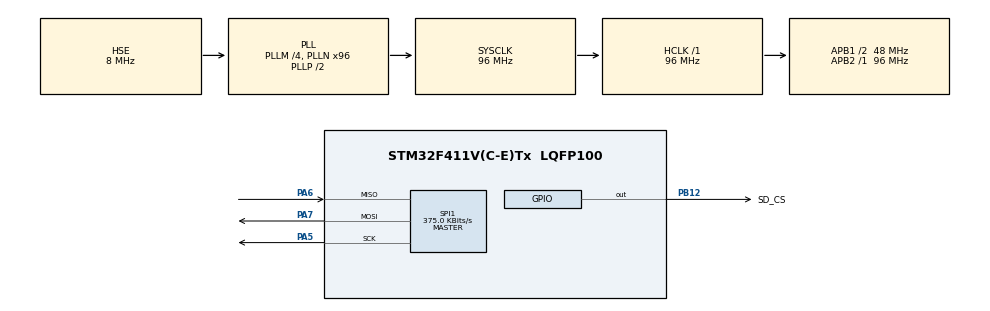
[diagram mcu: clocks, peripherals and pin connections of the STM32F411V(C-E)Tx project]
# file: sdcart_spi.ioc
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Dma.Request0=SPI1_RX
Dma.Request1=SPI1_TX
Dma.SPI1_RX.0.Direction=DMA_PERIPH_TO_MEMORY
Dma.SPI1_RX.0.FIFOMode=DMA_FIFOMODE_DISABLE
Dma.SPI1_RX.0.Instance=DMA2_Stream0
Dma.SPI1_RX.0.MemDataAlignment=DMA_MDATAALIGN_BYTE
Dma.SPI1_RX.0.MemInc=DMA_MINC_ENABLE
Dma.SPI1_RX.0.Mode=DMA_NORMAL
Dma.SPI1_RX.0.PeriphDataAlignment=DMA_PDATAALIGN_BYTE
Dma.SPI1_RX.0.PeriphInc=DMA_PINC_DISABLE
Dma.SPI1_RX.0.Priority=DMA_PRIORITY_LOW
Dma.SPI1_TX.1.Direction=DMA_MEMORY_TO_PERIPH
Dma.SPI1_TX.1.FIFOMode=DMA_FIFOMODE_DISABLE
Dma.SPI1_TX.1.Instance=DMA2_Stream2
Dma.SPI1_TX.1.MemDataAlignment=DMA_MDATAALIGN_BYTE
Dma.SPI1_TX.1.MemInc=DMA_MINC_ENABLE
Dma.SPI1_TX.1.Mode=DMA_NORMAL
Dma.SPI1_TX.1.PeriphDataAlignment=DMA_PDATAALIGN_BYTE
Dma.SPI1_TX.1.PeriphInc=DMA_PINC_DISABLE
Dma.SPI1_TX.1.Priority=DMA_PRIORITY_LOW
Mcu.Family=STM32F4
Mcu.Name=STM32F411V(C-E)Tx
Mcu.Package=LQFP100
NVIC.DMA2_Stream0_IRQn=true\:0\:0\:false\:false\:true\:false\:true\:true
NVIC.DMA2_Stream2_IRQn=true\:0\:0\:false\:false\:true\:false\:true\:true
NVIC.PriorityGroup=NVIC_PRIORITYGROUP_0
PA13.Mode=Trace_Asynchronous_SW
PA13.Signal=SYS_JTMS-SWDIO
PA14.Mode=Trace_Asynchronous_SW
PA14.Signal=SYS_JTCK-SWCLK
PA5.GPIO_PuPd=GPIO_PULLUP
PA5.GPIO_Speed=GPIO_SPEED_FREQ_VERY_HIGH
PA5.Mode=Full_Duplex_Master
PA5.Signal=SPI1_SCK
PA6.GPIO_PuPd=GPIO_PULLUP
PA6.GPIO_Speed=GPIO_SPEED_FREQ_VERY_HIGH
PA6.Mode=Full_Duplex_Master
PA6.Signal=SPI1_MISO
PA7.GPIO_PuPd=GPIO_PULLUP
PA7.GPIO_Speed=GPIO_SPEED_FREQ_VERY_HIGH
PA7.Mode=Full_Duplex_Master
PA7.Signal=SPI1_MOSI
PB12.GPIO_Label=SD_CS
PB12.GPIO_ModeDefaultOutputPP=GPIO_MODE_OUTPUT_PP
PB12.GPIO_PuPd=GPIO_PULLUP
PB12.GPIO_Speed=GPIO_SPEED_FREQ_VERY_HIGH
PB12.PinState=GPIO_PIN_SET
PB12.Signal=GPIO_Output
PB3.Mode=Trace_Asynchronous_SW
PB3.Signal=SYS_JTDO-SWO
PH0\ -\ OSC_IN.Mode=HSE-External-Oscillator
PH0\ -\ OSC_IN.Signal=RCC_OSC_IN
PH1\ -\ OSC_OUT.Mode=HSE-External-Oscillator
PH1\ -\ OSC_OUT.Signal=RCC_OSC_OUT
ProjectManager.HeapSize=0x1000
ProjectManager.StackSize=0x400
ProjectManager.TargetToolchain=STM32CubeIDE
RCC.48MHZClocksFreq_Value=24000000
RCC.AHBFreq_Value=96000000
RCC.APB1CLKDivider=RCC_HCLK_DIV2
RCC.APB1Freq_Value=48000000
RCC.APB1TimFreq_Value=96000000
RCC.APB2Freq_Value=96000000
RCC.APB2TimFreq_Value=96000000
RCC.CortexFreq_Value=96000000
RCC.HCLKFreq_Value=96000000
RCC.HSE_VALUE=8000000
RCC.HSI_VALUE=16000000
RCC.LSE_VALUE=32768
RCC.PLLI2SM=5
RCC.PLLI2SN=200
RCC.PLLM=4
RCC.PLLN=96
RCC.PLLQ=8
RCC.PLLSourceVirtual=RCC_PLLSOURCE_HSE
RCC.SYSCLKFreq_VALUE=96000000
RCC.SYSCLKSource=RCC_SYSCLKSOURCE_PLLCLK
RCC.VCOOutputFreq_Value=192000000
SPI1.BaudRatePrescaler=SPI_BAUDRATEPRESCALER_256
SPI1.CalculateBaudRate=375.0 KBits/s
SPI1.Direction=SPI_DIRECTION_2LINES
SPI1.Mode=SPI_MODE_MASTER
SPI1.VirtualType=VM_MASTER
board=STM32F411E-DISCO

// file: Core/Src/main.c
/* USER CODE BEGIN Header */
/**
  ******************************************************************************
  * @file           : main.c
  * @brief          : Main program body
  ******************************************************************************
  * @attention
  *
  * Copyright (c) 2026 STMicroelectronics.
  * All rights reserved.
  *
  * This software is licensed under terms that can be found in the LICENSE file
  * in the root directory of this software component.
  * If no LICENSE file comes with this software, it is provided AS-IS.
  *
  ******************************************************************************
  */
/* USER CODE END Header */
#include "main.h"
#include "dma.h"
#include "spi.h"
#include "gpio.h"

/* USER CODE BEGIN Includes */
#include <stdio.h>
#include <string.h>
#include <stdarg.h> //for va_list var arg functions

#include "stdio.h"
#include "sd_benchmark.h"
#include "fatfs.h"

/* USER CODE END Includes */

/* USER CODE BEGIN PTD */
#define DEBUG_SW 1
/* USER CODE END PTD */

/* USER CODE BEGIN PV */
void File_op(void);
/* USER CODE END PV */

void SystemClock_Config(void);

/* USER CODE BEGIN 0 */

#ifdef __GNUC__
  /* With GCC, small printf (option LD Linker->Libraries->Small printf
     set to 'Yes') calls __io_putchar() */
int __io_putchar(int ch)
#else
int fputc(int ch, FILE *f)
#endif /* __GNUC__ */
{

#if DEBUG_UART
  HAL_UART_Transmit(&huart2, (uint8_t *)&ch, 1, HAL_MAX_DELAY);
#endif

#if DEBUG_SW
  ITM_SendChar(ch);
#endif

  return ch;
}

/* USER CODE END 0 */

int main(void)
{

  /* MCU Configuration--------------------------------------------------------*/

  /* Reset of all peripherals, Initializes the Flash interface and the Systick. */
  HAL_Init();

  /* Configure the system clock */
  SystemClock_Config();

  /* Initialize all configured peripherals */
  MX_GPIO_Init();
  MX_DMA_Init();
  MX_SPI1_Init();
  /* USER CODE BEGIN 2 */

  //HAL some times making pin low after init
  HAL_GPIO_WritePin(SD_CS_GPIO_Port, SD_CS_Pin, GPIO_PIN_SET);
  HAL_Delay(100); //a short delay is important to let the SD card settle

//  File_op();
  /* USER CODE END 2 */

  /* Infinite loop */
  /* USER CODE BEGIN WHILE */
  while (1)
  {
	  sd_benchmark();
	  HAL_Delay(2000);
    /* USER CODE END WHILE */

  }
}

void SystemClock_Config(void)
{
  RCC_OscInitTypeDef RCC_OscInitStruct = {0};
  RCC_ClkInitTypeDef RCC_ClkInitStruct = {0};

  /** Configure the main internal regulator output voltage
  */
  __HAL_RCC_PWR_CLK_ENABLE();
  __HAL_PWR_VOLTAGESCALING_CONFIG(PWR_REGULATOR_VOLTAGE_SCALE1);

  /** Initializes the RCC Oscillators according to the specified parameters
  * in the RCC_OscInitTypeDef structure.
  */
  RCC_OscInitStruct.OscillatorType = RCC_OSCILLATORTYPE_HSE;
  RCC_OscInitStruct.HSEState = RCC_HSE_ON;
  RCC_OscInitStruct.PLL.PLLState = RCC_PLL_ON;
  RCC_OscInitStruct.PLL.PLLSource = RCC_PLLSOURCE_HSE;
  RCC_OscInitStruct.PLL.PLLM = 4;
  RCC_OscInitStruct.PLL.PLLN = 96;
  RCC_OscInitStruct.PLL.PLLP = RCC_PLLP_DIV2;
  RCC_OscInitStruct.PLL.PLLQ = 8;
  if (HAL_RCC_OscConfig(&RCC_OscInitStruct) != HAL_OK)
  {
    Error_Handler();
  }

  /** Initializes the CPU, AHB and APB buses clocks
  */
  RCC_ClkInitStruct.ClockType = RCC_CLOCKTYPE_HCLK|RCC_CLOCKTYPE_SYSCLK
                              |RCC_CLOCKTYPE_PCLK1|RCC_CLOCKTYPE_PCLK2;
  RCC_ClkInitStruct.SYSCLKSource = RCC_SYSCLKSOURCE_PLLCLK;
  RCC_ClkInitStruct.AHBCLKDivider = RCC_SYSCLK_DIV1;
  RCC_ClkInitStruct.APB1CLKDivider = RCC_HCLK_DIV2;
  RCC_ClkInitStruct.APB2CLKDivider = RCC_HCLK_DIV1;

  if (HAL_RCC_ClockConfig(&RCC_ClkInitStruct, FLASH_LATENCY_3) != HAL_OK)
  {
    Error_Handler();
  }
}

/* USER CODE BEGIN 4 */
void File_op(void)
{
	FIL fil; 		//File handle
	FRESULT fres; //Result after operations

	BYTE readBuf[512];
//	FATFS* getFreeFs;

	//Open the file system
	fres = f_mount(&USERFatFS, "", 1); //1=mount now
	if (fres != FR_OK)
	{
		printf("f_mount error (%i)\r\n", fres);
		goto file_op_end;
	}

	  //Let's get some statistics from the SD card
//	fres = f_getfree("", &free_clusters, &getFreeFs);
//	if (fres != FR_OK) {
//		printf("f_getfree error (%i)\r\n", fres);
//		goto file_op_end;
//	}
//
//	  //Formula comes from ChaN's documentation
//	total_sectors = (getFreeFs->n_fatent - 2) * getFreeFs->csize;
//	free_sectors = free_clusters * getFreeFs->csize;
//
//	printf("SD card stats:\r\n%10lu KiB total drive space.\r\n%10lu KiB available.\r\n", total_sectors / 2, free_sectors / 2);
//
	//Now let's try to open file "test.txt"
	fres = f_open(&fil, "test.txt", FA_READ);
	if (fres == FR_OK) {
	  printf("I was able to open 'test.txt' for reading!\r\n");

	  //Read 30 bytes from "test.txt" on the SD card
	  //We can either use f_read OR f_gets to get data out of files
	  //f_gets is a wrapper on f_read that does some string formatting for us

	  TCHAR* rres = f_gets((TCHAR*)readBuf, 512, &fil);
	  if(rres != 0) {
		printf("Read string from 'test.txt' contents: %s\r\n", readBuf);
	  } else {
		printf("f_gets error (%i)\r\n", fres);
	  }

	  //Be a tidy kiwi - don't forget to close your file!
	  f_close(&fil);
	}
	else {
	  printf("Skipping read: f_open error (%i)\r\n", fres);
	}
	  //Now let's try and write a file "write.txt"
//	  fres = f_open(&fil, "write.txt", FA_WRITE | FA_OPEN_ALWAYS | FA_CREATE_ALWAYS);
//	  if(fres == FR_OK) {
//		printf("I was able to open 'write.txt' for writing\r\n");
//		  snprintf((char*)readBuf, sizeof(readBuf), "a new file is made!");
//
//		  UINT bytesWrote;
//		  fres = f_write(&fil, readBuf, 10, &bytesWrote);
//		  if(fres == FR_OK) {
//			printf("Wrote %i bytes to 'write.txt'!\r\n", bytesWrote);
//		  } else {
//			printf("f_write error (%i)\r\n", fres);
//		  }
//
//		  //Be a tidy kiwi - don't forget to close your file!
//		  f_close(&fil);
//	  } else
//		printf("f_open error (%i)\r\n", fres);

	  //We're done, so de-mount the drive
file_op_end:
	  f_mount(NULL, "", 0);
}
/* USER CODE END 4 */

void Error_Handler(void)
{
  __disable_irq();
  while (1)
  {
  }
}
